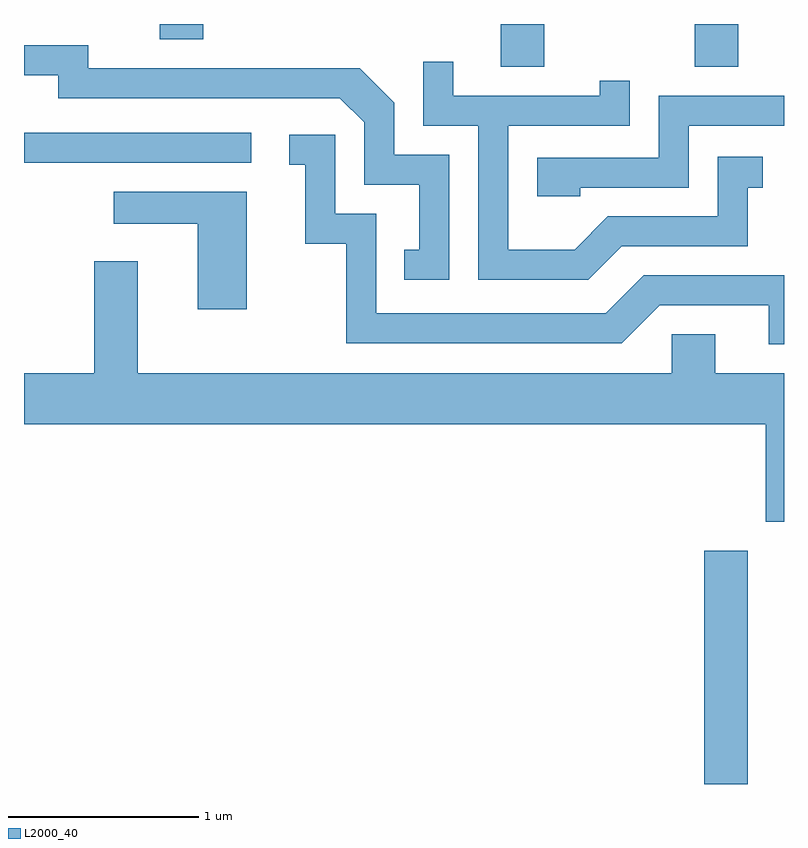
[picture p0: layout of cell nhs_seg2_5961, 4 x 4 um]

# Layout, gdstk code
import gdstk
lib = gdstk.Library(unit=1e-6, precision=1e-09)
def R(c, l, rs):  # rectangles x0, y0, x1, y1
    for r in rs: c.add(gdstk.rectangle(r[:2], r[2:], *l))
def P(c, l, *ps):  # polygons
    for p in ps: c.add(gdstk.Polygon(p, *l))
L2000_40 = (2000, 40)

nhs_seg2_5961 = lib.new_cell('nhs_seg2_5961')
R(nhs_seg2_5961, L2000_40, [(365.191,999.802,365.419,1001.029), (361.611,1003.071,362.808,1003.229), (364.121,1003.576,364.349,1003.802), (365.141,1003.576,365.369,1003.802), (362.326,1003.721,362.554,1003.802)])
P(nhs_seg2_5961, L2000_40, [(363.849,1003.114),(363.559,1003.114),(363.559,1003.387),(363.377,1003.569),(361.949,1003.569),(361.949,1003.689),(361.611,1003.689),(361.611,1003.531),(361.791,1003.531),(361.791,1003.411),(363.274,1003.411),(363.401,1003.284),(363.401,1002.956),(363.691,1002.956),(363.691,1002.614),(363.613,1002.614),(363.613,1002.456),(363.849,1002.456)],
  [(364.757,1002.631),(365.419,1002.631),(365.419,1002.941),(365.498,1002.941),(365.498,1003.104),(365.261,1003.104),(365.261,1002.789),(364.684,1002.789),(364.509,1002.614),(364.159,1002.614),(364.159,1003.266),(364.799,1003.266),(364.799,1003.503),(364.641,1003.503),(364.641,1003.424),(363.869,1003.424),(363.869,1003.603),(363.711,1003.603),(363.711,1003.266),(364.001,1003.266),(364.001,1002.456),(364.582,1002.456)],
  [(364.539,1002.941),(365.109,1002.941),(365.109,1003.266),(365.611,1003.266),(365.611,1003.424),(364.951,1003.424),(364.951,1003.099),(364.311,1003.099),(364.311,1002.896),(364.539,1002.896)],
  [(365.611,1002.479),(364.874,1002.479),(364.674,1002.279),(363.464,1002.279),(363.464,1002.804),(363.249,1002.804),(363.249,1003.219),(363.008,1003.219),(363.008,1003.061),(363.091,1003.061),(363.091,1002.646),(363.306,1002.646),(363.306,1002.121),(364.757,1002.121),(364.957,1002.321),(365.531,1002.321),(365.531,1002.116),(365.611,1002.116)],
  [(362.784,1002.919),(362.083,1002.919),(362.083,1002.751),(362.526,1002.751),(362.526,1002.301),(362.784,1002.301)],
  [(365.611,1001.964),(365.249,1001.964),(365.249,1002.169),(365.021,1002.169),(365.021,1001.964),(362.209,1001.964),(362.209,1002.554),(361.981,1002.554),(361.981,1001.964),(361.611,1001.964),(361.611,1001.696),(365.516,1001.696),(365.516,1001.181),(365.611,1001.181)])

lib.write_gds('nhs_seg2_5961.gds')
